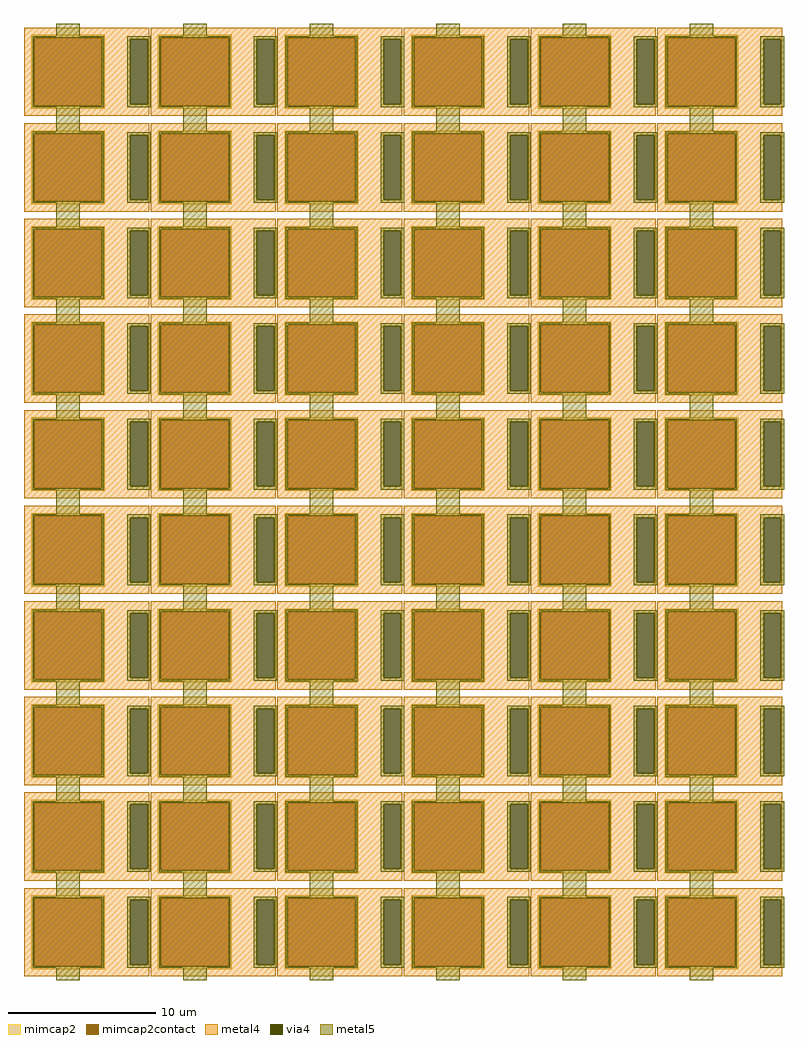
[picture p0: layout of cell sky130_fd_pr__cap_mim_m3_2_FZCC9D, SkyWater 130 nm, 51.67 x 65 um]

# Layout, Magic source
magic
tech sky130A
magscale 1 2
<< metal4 >>
rect -5156 6289 -3454 6450
rect -5156 5411 -3710 6289
rect -3474 5411 -3454 6289
rect -5156 5250 -3454 5411
rect -3434 6289 -1732 6450
rect -3434 5411 -1988 6289
rect -1752 5411 -1732 6289
rect -3434 5250 -1732 5411
rect -1712 6289 -10 6450
rect -1712 5411 -266 6289
rect -30 5411 -10 6289
rect -1712 5250 -10 5411
rect 10 6289 1712 6450
rect 10 5411 1456 6289
rect 1692 5411 1712 6289
rect 10 5250 1712 5411
rect 1732 6289 3434 6450
rect 1732 5411 3178 6289
rect 3414 5411 3434 6289
rect 1732 5250 3434 5411
rect 3454 6289 5156 6450
rect 3454 5411 4900 6289
rect 5136 5411 5156 6289
rect 3454 5250 5156 5411
rect -5156 4989 -3454 5150
rect -5156 4111 -3710 4989
rect -3474 4111 -3454 4989
rect -5156 3950 -3454 4111
rect -3434 4989 -1732 5150
rect -3434 4111 -1988 4989
rect -1752 4111 -1732 4989
rect -3434 3950 -1732 4111
rect -1712 4989 -10 5150
rect -1712 4111 -266 4989
rect -30 4111 -10 4989
rect -1712 3950 -10 4111
rect 10 4989 1712 5150
rect 10 4111 1456 4989
rect 1692 4111 1712 4989
rect 10 3950 1712 4111
rect 1732 4989 3434 5150
rect 1732 4111 3178 4989
rect 3414 4111 3434 4989
rect 1732 3950 3434 4111
rect 3454 4989 5156 5150
rect 3454 4111 4900 4989
rect 5136 4111 5156 4989
rect 3454 3950 5156 4111
rect -5156 3689 -3454 3850
rect -5156 2811 -3710 3689
rect -3474 2811 -3454 3689
rect -5156 2650 -3454 2811
rect -3434 3689 -1732 3850
rect -3434 2811 -1988 3689
rect -1752 2811 -1732 3689
rect -3434 2650 -1732 2811
rect -1712 3689 -10 3850
rect -1712 2811 -266 3689
rect -30 2811 -10 3689
rect -1712 2650 -10 2811
rect 10 3689 1712 3850
rect 10 2811 1456 3689
rect 1692 2811 1712 3689
rect 10 2650 1712 2811
rect 1732 3689 3434 3850
rect 1732 2811 3178 3689
rect 3414 2811 3434 3689
rect 1732 2650 3434 2811
rect 3454 3689 5156 3850
rect 3454 2811 4900 3689
rect 5136 2811 5156 3689
rect 3454 2650 5156 2811
rect -5156 2389 -3454 2550
rect -5156 1511 -3710 2389
rect -3474 1511 -3454 2389
rect -5156 1350 -3454 1511
rect -3434 2389 -1732 2550
rect -3434 1511 -1988 2389
rect -1752 1511 -1732 2389
rect -3434 1350 -1732 1511
rect -1712 2389 -10 2550
rect -1712 1511 -266 2389
rect -30 1511 -10 2389
rect -1712 1350 -10 1511
rect 10 2389 1712 2550
rect 10 1511 1456 2389
rect 1692 1511 1712 2389
rect 10 1350 1712 1511
rect 1732 2389 3434 2550
rect 1732 1511 3178 2389
rect 3414 1511 3434 2389
rect 1732 1350 3434 1511
rect 3454 2389 5156 2550
rect 3454 1511 4900 2389
rect 5136 1511 5156 2389
rect 3454 1350 5156 1511
rect -5156 1089 -3454 1250
rect -5156 211 -3710 1089
rect -3474 211 -3454 1089
rect -5156 50 -3454 211
rect -3434 1089 -1732 1250
rect -3434 211 -1988 1089
rect -1752 211 -1732 1089
rect -3434 50 -1732 211
rect -1712 1089 -10 1250
rect -1712 211 -266 1089
rect -30 211 -10 1089
rect -1712 50 -10 211
rect 10 1089 1712 1250
rect 10 211 1456 1089
rect 1692 211 1712 1089
rect 10 50 1712 211
rect 1732 1089 3434 1250
rect 1732 211 3178 1089
rect 3414 211 3434 1089
rect 1732 50 3434 211
rect 3454 1089 5156 1250
rect 3454 211 4900 1089
rect 5136 211 5156 1089
rect 3454 50 5156 211
rect -5156 -211 -3454 -50
rect -5156 -1089 -3710 -211
rect -3474 -1089 -3454 -211
rect -5156 -1250 -3454 -1089
rect -3434 -211 -1732 -50
rect -3434 -1089 -1988 -211
rect -1752 -1089 -1732 -211
rect -3434 -1250 -1732 -1089
rect -1712 -211 -10 -50
rect -1712 -1089 -266 -211
rect -30 -1089 -10 -211
rect -1712 -1250 -10 -1089
rect 10 -211 1712 -50
rect 10 -1089 1456 -211
rect 1692 -1089 1712 -211
rect 10 -1250 1712 -1089
rect 1732 -211 3434 -50
rect 1732 -1089 3178 -211
rect 3414 -1089 3434 -211
rect 1732 -1250 3434 -1089
rect 3454 -211 5156 -50
rect 3454 -1089 4900 -211
rect 5136 -1089 5156 -211
rect 3454 -1250 5156 -1089
rect -5156 -1511 -3454 -1350
rect -5156 -2389 -3710 -1511
rect -3474 -2389 -3454 -1511
rect -5156 -2550 -3454 -2389
rect -3434 -1511 -1732 -1350
rect -3434 -2389 -1988 -1511
rect -1752 -2389 -1732 -1511
rect -3434 -2550 -1732 -2389
rect -1712 -1511 -10 -1350
rect -1712 -2389 -266 -1511
rect -30 -2389 -10 -1511
rect -1712 -2550 -10 -2389
rect 10 -1511 1712 -1350
rect 10 -2389 1456 -1511
rect 1692 -2389 1712 -1511
rect 10 -2550 1712 -2389
rect 1732 -1511 3434 -1350
rect 1732 -2389 3178 -1511
rect 3414 -2389 3434 -1511
rect 1732 -2550 3434 -2389
rect 3454 -1511 5156 -1350
rect 3454 -2389 4900 -1511
rect 5136 -2389 5156 -1511
rect 3454 -2550 5156 -2389
rect -5156 -2811 -3454 -2650
rect -5156 -3689 -3710 -2811
rect -3474 -3689 -3454 -2811
rect -5156 -3850 -3454 -3689
rect -3434 -2811 -1732 -2650
rect -3434 -3689 -1988 -2811
rect -1752 -3689 -1732 -2811
rect -3434 -3850 -1732 -3689
rect -1712 -2811 -10 -2650
rect -1712 -3689 -266 -2811
rect -30 -3689 -10 -2811
rect -1712 -3850 -10 -3689
rect 10 -2811 1712 -2650
rect 10 -3689 1456 -2811
rect 1692 -3689 1712 -2811
rect 10 -3850 1712 -3689
rect 1732 -2811 3434 -2650
rect 1732 -3689 3178 -2811
rect 3414 -3689 3434 -2811
rect 1732 -3850 3434 -3689
rect 3454 -2811 5156 -2650
rect 3454 -3689 4900 -2811
rect 5136 -3689 5156 -2811
rect 3454 -3850 5156 -3689
rect -5156 -4111 -3454 -3950
rect -5156 -4989 -3710 -4111
rect -3474 -4989 -3454 -4111
rect -5156 -5150 -3454 -4989
rect -3434 -4111 -1732 -3950
rect -3434 -4989 -1988 -4111
rect -1752 -4989 -1732 -4111
rect -3434 -5150 -1732 -4989
rect -1712 -4111 -10 -3950
rect -1712 -4989 -266 -4111
rect -30 -4989 -10 -4111
rect -1712 -5150 -10 -4989
rect 10 -4111 1712 -3950
rect 10 -4989 1456 -4111
rect 1692 -4989 1712 -4111
rect 10 -5150 1712 -4989
rect 1732 -4111 3434 -3950
rect 1732 -4989 3178 -4111
rect 3414 -4989 3434 -4111
rect 1732 -5150 3434 -4989
rect 3454 -4111 5156 -3950
rect 3454 -4989 4900 -4111
rect 5136 -4989 5156 -4111
rect 3454 -5150 5156 -4989
rect -5156 -5411 -3454 -5250
rect -5156 -6289 -3710 -5411
rect -3474 -6289 -3454 -5411
rect -5156 -6450 -3454 -6289
rect -3434 -5411 -1732 -5250
rect -3434 -6289 -1988 -5411
rect -1752 -6289 -1732 -5411
rect -3434 -6450 -1732 -6289
rect -1712 -5411 -10 -5250
rect -1712 -6289 -266 -5411
rect -30 -6289 -10 -5411
rect -1712 -6450 -10 -6289
rect 10 -5411 1712 -5250
rect 10 -6289 1456 -5411
rect 1692 -6289 1712 -5411
rect 10 -6450 1712 -6289
rect 1732 -5411 3434 -5250
rect 1732 -6289 3178 -5411
rect 3414 -6289 3434 -5411
rect 1732 -6450 3434 -6289
rect 3454 -5411 5156 -5250
rect 3454 -6289 4900 -5411
rect 5136 -6289 5156 -5411
rect 3454 -6450 5156 -6289
<< via4 >>
rect -3710 5411 -3474 6289
rect -1988 5411 -1752 6289
rect -266 5411 -30 6289
rect 1456 5411 1692 6289
rect 3178 5411 3414 6289
rect 4900 5411 5136 6289
rect -3710 4111 -3474 4989
rect -1988 4111 -1752 4989
rect -266 4111 -30 4989
rect 1456 4111 1692 4989
rect 3178 4111 3414 4989
rect 4900 4111 5136 4989
rect -3710 2811 -3474 3689
rect -1988 2811 -1752 3689
rect -266 2811 -30 3689
rect 1456 2811 1692 3689
rect 3178 2811 3414 3689
rect 4900 2811 5136 3689
rect -3710 1511 -3474 2389
rect -1988 1511 -1752 2389
rect -266 1511 -30 2389
rect 1456 1511 1692 2389
rect 3178 1511 3414 2389
rect 4900 1511 5136 2389
rect -3710 211 -3474 1089
rect -1988 211 -1752 1089
rect -266 211 -30 1089
rect 1456 211 1692 1089
rect 3178 211 3414 1089
rect 4900 211 5136 1089
rect -3710 -1089 -3474 -211
rect -1988 -1089 -1752 -211
rect -266 -1089 -30 -211
rect 1456 -1089 1692 -211
rect 3178 -1089 3414 -211
rect 4900 -1089 5136 -211
rect -3710 -2389 -3474 -1511
rect -1988 -2389 -1752 -1511
rect -266 -2389 -30 -1511
rect 1456 -2389 1692 -1511
rect 3178 -2389 3414 -1511
rect 4900 -2389 5136 -1511
rect -3710 -3689 -3474 -2811
rect -1988 -3689 -1752 -2811
rect -266 -3689 -30 -2811
rect 1456 -3689 1692 -2811
rect 3178 -3689 3414 -2811
rect 4900 -3689 5136 -2811
rect -3710 -4989 -3474 -4111
rect -1988 -4989 -1752 -4111
rect -266 -4989 -30 -4111
rect 1456 -4989 1692 -4111
rect 3178 -4989 3414 -4111
rect 4900 -4989 5136 -4111
rect -3710 -6289 -3474 -5411
rect -1988 -6289 -1752 -5411
rect -266 -6289 -30 -5411
rect 1456 -6289 1692 -5411
rect 3178 -6289 3414 -5411
rect 4900 -6289 5136 -5411
<< mimcap2 >>
rect -5056 6310 -4056 6350
rect -5056 5390 -5016 6310
rect -4096 5390 -4056 6310
rect -5056 5350 -4056 5390
rect -3334 6310 -2334 6350
rect -3334 5390 -3294 6310
rect -2374 5390 -2334 6310
rect -3334 5350 -2334 5390
rect -1612 6310 -612 6350
rect -1612 5390 -1572 6310
rect -652 5390 -612 6310
rect -1612 5350 -612 5390
rect 110 6310 1110 6350
rect 110 5390 150 6310
rect 1070 5390 1110 6310
rect 110 5350 1110 5390
rect 1832 6310 2832 6350
rect 1832 5390 1872 6310
rect 2792 5390 2832 6310
rect 1832 5350 2832 5390
rect 3554 6310 4554 6350
rect 3554 5390 3594 6310
rect 4514 5390 4554 6310
rect 3554 5350 4554 5390
rect -5056 5010 -4056 5050
rect -5056 4090 -5016 5010
rect -4096 4090 -4056 5010
rect -5056 4050 -4056 4090
rect -3334 5010 -2334 5050
rect -3334 4090 -3294 5010
rect -2374 4090 -2334 5010
rect -3334 4050 -2334 4090
rect -1612 5010 -612 5050
rect -1612 4090 -1572 5010
rect -652 4090 -612 5010
rect -1612 4050 -612 4090
rect 110 5010 1110 5050
rect 110 4090 150 5010
rect 1070 4090 1110 5010
rect 110 4050 1110 4090
rect 1832 5010 2832 5050
rect 1832 4090 1872 5010
rect 2792 4090 2832 5010
rect 1832 4050 2832 4090
rect 3554 5010 4554 5050
rect 3554 4090 3594 5010
rect 4514 4090 4554 5010
rect 3554 4050 4554 4090
rect -5056 3710 -4056 3750
rect -5056 2790 -5016 3710
rect -4096 2790 -4056 3710
rect -5056 2750 -4056 2790
rect -3334 3710 -2334 3750
rect -3334 2790 -3294 3710
rect -2374 2790 -2334 3710
rect -3334 2750 -2334 2790
rect -1612 3710 -612 3750
rect -1612 2790 -1572 3710
rect -652 2790 -612 3710
rect -1612 2750 -612 2790
rect 110 3710 1110 3750
rect 110 2790 150 3710
rect 1070 2790 1110 3710
rect 110 2750 1110 2790
rect 1832 3710 2832 3750
rect 1832 2790 1872 3710
rect 2792 2790 2832 3710
rect 1832 2750 2832 2790
rect 3554 3710 4554 3750
rect 3554 2790 3594 3710
rect 4514 2790 4554 3710
rect 3554 2750 4554 2790
rect -5056 2410 -4056 2450
rect -5056 1490 -5016 2410
rect -4096 1490 -4056 2410
rect -5056 1450 -4056 1490
rect -3334 2410 -2334 2450
rect -3334 1490 -3294 2410
rect -2374 1490 -2334 2410
rect -3334 1450 -2334 1490
rect -1612 2410 -612 2450
rect -1612 1490 -1572 2410
rect -652 1490 -612 2410
rect -1612 1450 -612 1490
rect 110 2410 1110 2450
rect 110 1490 150 2410
rect 1070 1490 1110 2410
rect 110 1450 1110 1490
rect 1832 2410 2832 2450
rect 1832 1490 1872 2410
rect 2792 1490 2832 2410
rect 1832 1450 2832 1490
rect 3554 2410 4554 2450
rect 3554 1490 3594 2410
rect 4514 1490 4554 2410
rect 3554 1450 4554 1490
rect -5056 1110 -4056 1150
rect -5056 190 -5016 1110
rect -4096 190 -4056 1110
rect -5056 150 -4056 190
rect -3334 1110 -2334 1150
rect -3334 190 -3294 1110
rect -2374 190 -2334 1110
rect -3334 150 -2334 190
rect -1612 1110 -612 1150
rect -1612 190 -1572 1110
rect -652 190 -612 1110
rect -1612 150 -612 190
rect 110 1110 1110 1150
rect 110 190 150 1110
rect 1070 190 1110 1110
rect 110 150 1110 190
rect 1832 1110 2832 1150
rect 1832 190 1872 1110
rect 2792 190 2832 1110
rect 1832 150 2832 190
rect 3554 1110 4554 1150
rect 3554 190 3594 1110
rect 4514 190 4554 1110
rect 3554 150 4554 190
rect -5056 -190 -4056 -150
rect -5056 -1110 -5016 -190
rect -4096 -1110 -4056 -190
rect -5056 -1150 -4056 -1110
rect -3334 -190 -2334 -150
rect -3334 -1110 -3294 -190
rect -2374 -1110 -2334 -190
rect -3334 -1150 -2334 -1110
rect -1612 -190 -612 -150
rect -1612 -1110 -1572 -190
rect -652 -1110 -612 -190
rect -1612 -1150 -612 -1110
rect 110 -190 1110 -150
rect 110 -1110 150 -190
rect 1070 -1110 1110 -190
rect 110 -1150 1110 -1110
rect 1832 -190 2832 -150
rect 1832 -1110 1872 -190
rect 2792 -1110 2832 -190
rect 1832 -1150 2832 -1110
rect 3554 -190 4554 -150
rect 3554 -1110 3594 -190
rect 4514 -1110 4554 -190
rect 3554 -1150 4554 -1110
rect -5056 -1490 -4056 -1450
rect -5056 -2410 -5016 -1490
rect -4096 -2410 -4056 -1490
rect -5056 -2450 -4056 -2410
rect -3334 -1490 -2334 -1450
rect -3334 -2410 -3294 -1490
rect -2374 -2410 -2334 -1490
rect -3334 -2450 -2334 -2410
rect -1612 -1490 -612 -1450
rect -1612 -2410 -1572 -1490
rect -652 -2410 -612 -1490
rect -1612 -2450 -612 -2410
rect 110 -1490 1110 -1450
rect 110 -2410 150 -1490
rect 1070 -2410 1110 -1490
rect 110 -2450 1110 -2410
rect 1832 -1490 2832 -1450
rect 1832 -2410 1872 -1490
rect 2792 -2410 2832 -1490
rect 1832 -2450 2832 -2410
rect 3554 -1490 4554 -1450
rect 3554 -2410 3594 -1490
rect 4514 -2410 4554 -1490
rect 3554 -2450 4554 -2410
rect -5056 -2790 -4056 -2750
rect -5056 -3710 -5016 -2790
rect -4096 -3710 -4056 -2790
rect -5056 -3750 -4056 -3710
rect -3334 -2790 -2334 -2750
rect -3334 -3710 -3294 -2790
rect -2374 -3710 -2334 -2790
rect -3334 -3750 -2334 -3710
rect -1612 -2790 -612 -2750
rect -1612 -3710 -1572 -2790
rect -652 -3710 -612 -2790
rect -1612 -3750 -612 -3710
rect 110 -2790 1110 -2750
rect 110 -3710 150 -2790
rect 1070 -3710 1110 -2790
rect 110 -3750 1110 -3710
rect 1832 -2790 2832 -2750
rect 1832 -3710 1872 -2790
rect 2792 -3710 2832 -2790
rect 1832 -3750 2832 -3710
rect 3554 -2790 4554 -2750
rect 3554 -3710 3594 -2790
rect 4514 -3710 4554 -2790
rect 3554 -3750 4554 -3710
rect -5056 -4090 -4056 -4050
rect -5056 -5010 -5016 -4090
rect -4096 -5010 -4056 -4090
rect -5056 -5050 -4056 -5010
rect -3334 -4090 -2334 -4050
rect -3334 -5010 -3294 -4090
rect -2374 -5010 -2334 -4090
rect -3334 -5050 -2334 -5010
rect -1612 -4090 -612 -4050
rect -1612 -5010 -1572 -4090
rect -652 -5010 -612 -4090
rect -1612 -5050 -612 -5010
rect 110 -4090 1110 -4050
rect 110 -5010 150 -4090
rect 1070 -5010 1110 -4090
rect 110 -5050 1110 -5010
rect 1832 -4090 2832 -4050
rect 1832 -5010 1872 -4090
rect 2792 -5010 2832 -4090
rect 1832 -5050 2832 -5010
rect 3554 -4090 4554 -4050
rect 3554 -5010 3594 -4090
rect 4514 -5010 4554 -4090
rect 3554 -5050 4554 -5010
rect -5056 -5390 -4056 -5350
rect -5056 -6310 -5016 -5390
rect -4096 -6310 -4056 -5390
rect -5056 -6350 -4056 -6310
rect -3334 -5390 -2334 -5350
rect -3334 -6310 -3294 -5390
rect -2374 -6310 -2334 -5390
rect -3334 -6350 -2334 -6310
rect -1612 -5390 -612 -5350
rect -1612 -6310 -1572 -5390
rect -652 -6310 -612 -5390
rect -1612 -6350 -612 -6310
rect 110 -5390 1110 -5350
rect 110 -6310 150 -5390
rect 1070 -6310 1110 -5390
rect 110 -6350 1110 -6310
rect 1832 -5390 2832 -5350
rect 1832 -6310 1872 -5390
rect 2792 -6310 2832 -5390
rect 1832 -6350 2832 -6310
rect 3554 -5390 4554 -5350
rect 3554 -6310 3594 -5390
rect 4514 -6310 4554 -5390
rect 3554 -6350 4554 -6310
<< mimcap2contact >>
rect -5016 5390 -4096 6310
rect -3294 5390 -2374 6310
rect -1572 5390 -652 6310
rect 150 5390 1070 6310
rect 1872 5390 2792 6310
rect 3594 5390 4514 6310
rect -5016 4090 -4096 5010
rect -3294 4090 -2374 5010
rect -1572 4090 -652 5010
rect 150 4090 1070 5010
rect 1872 4090 2792 5010
rect 3594 4090 4514 5010
rect -5016 2790 -4096 3710
rect -3294 2790 -2374 3710
rect -1572 2790 -652 3710
rect 150 2790 1070 3710
rect 1872 2790 2792 3710
rect 3594 2790 4514 3710
rect -5016 1490 -4096 2410
rect -3294 1490 -2374 2410
rect -1572 1490 -652 2410
rect 150 1490 1070 2410
rect 1872 1490 2792 2410
rect 3594 1490 4514 2410
rect -5016 190 -4096 1110
rect -3294 190 -2374 1110
rect -1572 190 -652 1110
rect 150 190 1070 1110
rect 1872 190 2792 1110
rect 3594 190 4514 1110
rect -5016 -1110 -4096 -190
rect -3294 -1110 -2374 -190
rect -1572 -1110 -652 -190
rect 150 -1110 1070 -190
rect 1872 -1110 2792 -190
rect 3594 -1110 4514 -190
rect -5016 -2410 -4096 -1490
rect -3294 -2410 -2374 -1490
rect -1572 -2410 -652 -1490
rect 150 -2410 1070 -1490
rect 1872 -2410 2792 -1490
rect 3594 -2410 4514 -1490
rect -5016 -3710 -4096 -2790
rect -3294 -3710 -2374 -2790
rect -1572 -3710 -652 -2790
rect 150 -3710 1070 -2790
rect 1872 -3710 2792 -2790
rect 3594 -3710 4514 -2790
rect -5016 -5010 -4096 -4090
rect -3294 -5010 -2374 -4090
rect -1572 -5010 -652 -4090
rect 150 -5010 1070 -4090
rect 1872 -5010 2792 -4090
rect 3594 -5010 4514 -4090
rect -5016 -6310 -4096 -5390
rect -3294 -6310 -2374 -5390
rect -1572 -6310 -652 -5390
rect 150 -6310 1070 -5390
rect 1872 -6310 2792 -5390
rect 3594 -6310 4514 -5390
<< metal5 >>
rect -4716 6334 -4396 6500
rect -2994 6334 -2674 6500
rect -1272 6334 -952 6500
rect 450 6334 770 6500
rect 2172 6334 2492 6500
rect 3894 6334 4214 6500
rect -5040 6310 -4072 6334
rect -5040 5390 -5016 6310
rect -4096 5390 -4072 6310
rect -5040 5366 -4072 5390
rect -3752 6289 -3432 6331
rect -3752 5411 -3710 6289
rect -3474 5411 -3432 6289
rect -3752 5369 -3432 5411
rect -3318 6310 -2350 6334
rect -3318 5390 -3294 6310
rect -2374 5390 -2350 6310
rect -3318 5366 -2350 5390
rect -2030 6289 -1710 6331
rect -2030 5411 -1988 6289
rect -1752 5411 -1710 6289
rect -2030 5369 -1710 5411
rect -1596 6310 -628 6334
rect -1596 5390 -1572 6310
rect -652 5390 -628 6310
rect -1596 5366 -628 5390
rect -308 6289 12 6331
rect -308 5411 -266 6289
rect -30 5411 12 6289
rect -308 5369 12 5411
rect 126 6310 1094 6334
rect 126 5390 150 6310
rect 1070 5390 1094 6310
rect 126 5366 1094 5390
rect 1414 6289 1734 6331
rect 1414 5411 1456 6289
rect 1692 5411 1734 6289
rect 1414 5369 1734 5411
rect 1848 6310 2816 6334
rect 1848 5390 1872 6310
rect 2792 5390 2816 6310
rect 1848 5366 2816 5390
rect 3136 6289 3456 6331
rect 3136 5411 3178 6289
rect 3414 5411 3456 6289
rect 3136 5369 3456 5411
rect 3570 6310 4538 6334
rect 3570 5390 3594 6310
rect 4514 5390 4538 6310
rect 3570 5366 4538 5390
rect 4858 6289 5178 6331
rect 4858 5411 4900 6289
rect 5136 5411 5178 6289
rect 4858 5369 5178 5411
rect -4716 5034 -4396 5366
rect -2994 5034 -2674 5366
rect -1272 5034 -952 5366
rect 450 5034 770 5366
rect 2172 5034 2492 5366
rect 3894 5034 4214 5366
rect -5040 5010 -4072 5034
rect -5040 4090 -5016 5010
rect -4096 4090 -4072 5010
rect -5040 4066 -4072 4090
rect -3752 4989 -3432 5031
rect -3752 4111 -3710 4989
rect -3474 4111 -3432 4989
rect -3752 4069 -3432 4111
rect -3318 5010 -2350 5034
rect -3318 4090 -3294 5010
rect -2374 4090 -2350 5010
rect -3318 4066 -2350 4090
rect -2030 4989 -1710 5031
rect -2030 4111 -1988 4989
rect -1752 4111 -1710 4989
rect -2030 4069 -1710 4111
rect -1596 5010 -628 5034
rect -1596 4090 -1572 5010
rect -652 4090 -628 5010
rect -1596 4066 -628 4090
rect -308 4989 12 5031
rect -308 4111 -266 4989
rect -30 4111 12 4989
rect -308 4069 12 4111
rect 126 5010 1094 5034
rect 126 4090 150 5010
rect 1070 4090 1094 5010
rect 126 4066 1094 4090
rect 1414 4989 1734 5031
rect 1414 4111 1456 4989
rect 1692 4111 1734 4989
rect 1414 4069 1734 4111
rect 1848 5010 2816 5034
rect 1848 4090 1872 5010
rect 2792 4090 2816 5010
rect 1848 4066 2816 4090
rect 3136 4989 3456 5031
rect 3136 4111 3178 4989
rect 3414 4111 3456 4989
rect 3136 4069 3456 4111
rect 3570 5010 4538 5034
rect 3570 4090 3594 5010
rect 4514 4090 4538 5010
rect 3570 4066 4538 4090
rect 4858 4989 5178 5031
rect 4858 4111 4900 4989
rect 5136 4111 5178 4989
rect 4858 4069 5178 4111
rect -4716 3734 -4396 4066
rect -2994 3734 -2674 4066
rect -1272 3734 -952 4066
rect 450 3734 770 4066
rect 2172 3734 2492 4066
rect 3894 3734 4214 4066
rect -5040 3710 -4072 3734
rect -5040 2790 -5016 3710
rect -4096 2790 -4072 3710
rect -5040 2766 -4072 2790
rect -3752 3689 -3432 3731
rect -3752 2811 -3710 3689
rect -3474 2811 -3432 3689
rect -3752 2769 -3432 2811
rect -3318 3710 -2350 3734
rect -3318 2790 -3294 3710
rect -2374 2790 -2350 3710
rect -3318 2766 -2350 2790
rect -2030 3689 -1710 3731
rect -2030 2811 -1988 3689
rect -1752 2811 -1710 3689
rect -2030 2769 -1710 2811
rect -1596 3710 -628 3734
rect -1596 2790 -1572 3710
rect -652 2790 -628 3710
rect -1596 2766 -628 2790
rect -308 3689 12 3731
rect -308 2811 -266 3689
rect -30 2811 12 3689
rect -308 2769 12 2811
rect 126 3710 1094 3734
rect 126 2790 150 3710
rect 1070 2790 1094 3710
rect 126 2766 1094 2790
rect 1414 3689 1734 3731
rect 1414 2811 1456 3689
rect 1692 2811 1734 3689
rect 1414 2769 1734 2811
rect 1848 3710 2816 3734
rect 1848 2790 1872 3710
rect 2792 2790 2816 3710
rect 1848 2766 2816 2790
rect 3136 3689 3456 3731
rect 3136 2811 3178 3689
rect 3414 2811 3456 3689
rect 3136 2769 3456 2811
rect 3570 3710 4538 3734
rect 3570 2790 3594 3710
rect 4514 2790 4538 3710
rect 3570 2766 4538 2790
rect 4858 3689 5178 3731
rect 4858 2811 4900 3689
rect 5136 2811 5178 3689
rect 4858 2769 5178 2811
rect -4716 2434 -4396 2766
rect -2994 2434 -2674 2766
rect -1272 2434 -952 2766
rect 450 2434 770 2766
rect 2172 2434 2492 2766
rect 3894 2434 4214 2766
rect -5040 2410 -4072 2434
rect -5040 1490 -5016 2410
rect -4096 1490 -4072 2410
rect -5040 1466 -4072 1490
rect -3752 2389 -3432 2431
rect -3752 1511 -3710 2389
rect -3474 1511 -3432 2389
rect -3752 1469 -3432 1511
rect -3318 2410 -2350 2434
rect -3318 1490 -3294 2410
rect -2374 1490 -2350 2410
rect -3318 1466 -2350 1490
rect -2030 2389 -1710 2431
rect -2030 1511 -1988 2389
rect -1752 1511 -1710 2389
rect -2030 1469 -1710 1511
rect -1596 2410 -628 2434
rect -1596 1490 -1572 2410
rect -652 1490 -628 2410
rect -1596 1466 -628 1490
rect -308 2389 12 2431
rect -308 1511 -266 2389
rect -30 1511 12 2389
rect -308 1469 12 1511
rect 126 2410 1094 2434
rect 126 1490 150 2410
rect 1070 1490 1094 2410
rect 126 1466 1094 1490
rect 1414 2389 1734 2431
rect 1414 1511 1456 2389
rect 1692 1511 1734 2389
rect 1414 1469 1734 1511
rect 1848 2410 2816 2434
rect 1848 1490 1872 2410
rect 2792 1490 2816 2410
rect 1848 1466 2816 1490
rect 3136 2389 3456 2431
rect 3136 1511 3178 2389
rect 3414 1511 3456 2389
rect 3136 1469 3456 1511
rect 3570 2410 4538 2434
rect 3570 1490 3594 2410
rect 4514 1490 4538 2410
rect 3570 1466 4538 1490
rect 4858 2389 5178 2431
rect 4858 1511 4900 2389
rect 5136 1511 5178 2389
rect 4858 1469 5178 1511
rect -4716 1134 -4396 1466
rect -2994 1134 -2674 1466
rect -1272 1134 -952 1466
rect 450 1134 770 1466
rect 2172 1134 2492 1466
rect 3894 1134 4214 1466
rect -5040 1110 -4072 1134
rect -5040 190 -5016 1110
rect -4096 190 -4072 1110
rect -5040 166 -4072 190
rect -3752 1089 -3432 1131
rect -3752 211 -3710 1089
rect -3474 211 -3432 1089
rect -3752 169 -3432 211
rect -3318 1110 -2350 1134
rect -3318 190 -3294 1110
rect -2374 190 -2350 1110
rect -3318 166 -2350 190
rect -2030 1089 -1710 1131
rect -2030 211 -1988 1089
rect -1752 211 -1710 1089
rect -2030 169 -1710 211
rect -1596 1110 -628 1134
rect -1596 190 -1572 1110
rect -652 190 -628 1110
rect -1596 166 -628 190
rect -308 1089 12 1131
rect -308 211 -266 1089
rect -30 211 12 1089
rect -308 169 12 211
rect 126 1110 1094 1134
rect 126 190 150 1110
rect 1070 190 1094 1110
rect 126 166 1094 190
rect 1414 1089 1734 1131
rect 1414 211 1456 1089
rect 1692 211 1734 1089
rect 1414 169 1734 211
rect 1848 1110 2816 1134
rect 1848 190 1872 1110
rect 2792 190 2816 1110
rect 1848 166 2816 190
rect 3136 1089 3456 1131
rect 3136 211 3178 1089
rect 3414 211 3456 1089
rect 3136 169 3456 211
rect 3570 1110 4538 1134
rect 3570 190 3594 1110
rect 4514 190 4538 1110
rect 3570 166 4538 190
rect 4858 1089 5178 1131
rect 4858 211 4900 1089
rect 5136 211 5178 1089
rect 4858 169 5178 211
rect -4716 -166 -4396 166
rect -2994 -166 -2674 166
rect -1272 -166 -952 166
rect 450 -166 770 166
rect 2172 -166 2492 166
rect 3894 -166 4214 166
rect -5040 -190 -4072 -166
rect -5040 -1110 -5016 -190
rect -4096 -1110 -4072 -190
rect -5040 -1134 -4072 -1110
rect -3752 -211 -3432 -169
rect -3752 -1089 -3710 -211
rect -3474 -1089 -3432 -211
rect -3752 -1131 -3432 -1089
rect -3318 -190 -2350 -166
rect -3318 -1110 -3294 -190
rect -2374 -1110 -2350 -190
rect -3318 -1134 -2350 -1110
rect -2030 -211 -1710 -169
rect -2030 -1089 -1988 -211
rect -1752 -1089 -1710 -211
rect -2030 -1131 -1710 -1089
rect -1596 -190 -628 -166
rect -1596 -1110 -1572 -190
rect -652 -1110 -628 -190
rect -1596 -1134 -628 -1110
rect -308 -211 12 -169
rect -308 -1089 -266 -211
rect -30 -1089 12 -211
rect -308 -1131 12 -1089
rect 126 -190 1094 -166
rect 126 -1110 150 -190
rect 1070 -1110 1094 -190
rect 126 -1134 1094 -1110
rect 1414 -211 1734 -169
rect 1414 -1089 1456 -211
rect 1692 -1089 1734 -211
rect 1414 -1131 1734 -1089
rect 1848 -190 2816 -166
rect 1848 -1110 1872 -190
rect 2792 -1110 2816 -190
rect 1848 -1134 2816 -1110
rect 3136 -211 3456 -169
rect 3136 -1089 3178 -211
rect 3414 -1089 3456 -211
rect 3136 -1131 3456 -1089
rect 3570 -190 4538 -166
rect 3570 -1110 3594 -190
rect 4514 -1110 4538 -190
rect 3570 -1134 4538 -1110
rect 4858 -211 5178 -169
rect 4858 -1089 4900 -211
rect 5136 -1089 5178 -211
rect 4858 -1131 5178 -1089
rect -4716 -1466 -4396 -1134
rect -2994 -1466 -2674 -1134
rect -1272 -1466 -952 -1134
rect 450 -1466 770 -1134
rect 2172 -1466 2492 -1134
rect 3894 -1466 4214 -1134
rect -5040 -1490 -4072 -1466
rect -5040 -2410 -5016 -1490
rect -4096 -2410 -4072 -1490
rect -5040 -2434 -4072 -2410
rect -3752 -1511 -3432 -1469
rect -3752 -2389 -3710 -1511
rect -3474 -2389 -3432 -1511
rect -3752 -2431 -3432 -2389
rect -3318 -1490 -2350 -1466
rect -3318 -2410 -3294 -1490
rect -2374 -2410 -2350 -1490
rect -3318 -2434 -2350 -2410
rect -2030 -1511 -1710 -1469
rect -2030 -2389 -1988 -1511
rect -1752 -2389 -1710 -1511
rect -2030 -2431 -1710 -2389
rect -1596 -1490 -628 -1466
rect -1596 -2410 -1572 -1490
rect -652 -2410 -628 -1490
rect -1596 -2434 -628 -2410
rect -308 -1511 12 -1469
rect -308 -2389 -266 -1511
rect -30 -2389 12 -1511
rect -308 -2431 12 -2389
rect 126 -1490 1094 -1466
rect 126 -2410 150 -1490
rect 1070 -2410 1094 -1490
rect 126 -2434 1094 -2410
rect 1414 -1511 1734 -1469
rect 1414 -2389 1456 -1511
rect 1692 -2389 1734 -1511
rect 1414 -2431 1734 -2389
rect 1848 -1490 2816 -1466
rect 1848 -2410 1872 -1490
rect 2792 -2410 2816 -1490
rect 1848 -2434 2816 -2410
rect 3136 -1511 3456 -1469
rect 3136 -2389 3178 -1511
rect 3414 -2389 3456 -1511
rect 3136 -2431 3456 -2389
rect 3570 -1490 4538 -1466
rect 3570 -2410 3594 -1490
rect 4514 -2410 4538 -1490
rect 3570 -2434 4538 -2410
rect 4858 -1511 5178 -1469
rect 4858 -2389 4900 -1511
rect 5136 -2389 5178 -1511
rect 4858 -2431 5178 -2389
rect -4716 -2766 -4396 -2434
rect -2994 -2766 -2674 -2434
rect -1272 -2766 -952 -2434
rect 450 -2766 770 -2434
rect 2172 -2766 2492 -2434
rect 3894 -2766 4214 -2434
rect -5040 -2790 -4072 -2766
rect -5040 -3710 -5016 -2790
rect -4096 -3710 -4072 -2790
rect -5040 -3734 -4072 -3710
rect -3752 -2811 -3432 -2769
rect -3752 -3689 -3710 -2811
rect -3474 -3689 -3432 -2811
rect -3752 -3731 -3432 -3689
rect -3318 -2790 -2350 -2766
rect -3318 -3710 -3294 -2790
rect -2374 -3710 -2350 -2790
rect -3318 -3734 -2350 -3710
rect -2030 -2811 -1710 -2769
rect -2030 -3689 -1988 -2811
rect -1752 -3689 -1710 -2811
rect -2030 -3731 -1710 -3689
rect -1596 -2790 -628 -2766
rect -1596 -3710 -1572 -2790
rect -652 -3710 -628 -2790
rect -1596 -3734 -628 -3710
rect -308 -2811 12 -2769
rect -308 -3689 -266 -2811
rect -30 -3689 12 -2811
rect -308 -3731 12 -3689
rect 126 -2790 1094 -2766
rect 126 -3710 150 -2790
rect 1070 -3710 1094 -2790
rect 126 -3734 1094 -3710
rect 1414 -2811 1734 -2769
rect 1414 -3689 1456 -2811
rect 1692 -3689 1734 -2811
rect 1414 -3731 1734 -3689
rect 1848 -2790 2816 -2766
rect 1848 -3710 1872 -2790
rect 2792 -3710 2816 -2790
rect 1848 -3734 2816 -3710
rect 3136 -2811 3456 -2769
rect 3136 -3689 3178 -2811
rect 3414 -3689 3456 -2811
rect 3136 -3731 3456 -3689
rect 3570 -2790 4538 -2766
rect 3570 -3710 3594 -2790
rect 4514 -3710 4538 -2790
rect 3570 -3734 4538 -3710
rect 4858 -2811 5178 -2769
rect 4858 -3689 4900 -2811
rect 5136 -3689 5178 -2811
rect 4858 -3731 5178 -3689
rect -4716 -4066 -4396 -3734
rect -2994 -4066 -2674 -3734
rect -1272 -4066 -952 -3734
rect 450 -4066 770 -3734
rect 2172 -4066 2492 -3734
rect 3894 -4066 4214 -3734
rect -5040 -4090 -4072 -4066
rect -5040 -5010 -5016 -4090
rect -4096 -5010 -4072 -4090
rect -5040 -5034 -4072 -5010
rect -3752 -4111 -3432 -4069
rect -3752 -4989 -3710 -4111
rect -3474 -4989 -3432 -4111
rect -3752 -5031 -3432 -4989
rect -3318 -4090 -2350 -4066
rect -3318 -5010 -3294 -4090
rect -2374 -5010 -2350 -4090
rect -3318 -5034 -2350 -5010
rect -2030 -4111 -1710 -4069
rect -2030 -4989 -1988 -4111
rect -1752 -4989 -1710 -4111
rect -2030 -5031 -1710 -4989
rect -1596 -4090 -628 -4066
rect -1596 -5010 -1572 -4090
rect -652 -5010 -628 -4090
rect -1596 -5034 -628 -5010
rect -308 -4111 12 -4069
rect -308 -4989 -266 -4111
rect -30 -4989 12 -4111
rect -308 -5031 12 -4989
rect 126 -4090 1094 -4066
rect 126 -5010 150 -4090
rect 1070 -5010 1094 -4090
rect 126 -5034 1094 -5010
rect 1414 -4111 1734 -4069
rect 1414 -4989 1456 -4111
rect 1692 -4989 1734 -4111
rect 1414 -5031 1734 -4989
rect 1848 -4090 2816 -4066
rect 1848 -5010 1872 -4090
rect 2792 -5010 2816 -4090
rect 1848 -5034 2816 -5010
rect 3136 -4111 3456 -4069
rect 3136 -4989 3178 -4111
rect 3414 -4989 3456 -4111
rect 3136 -5031 3456 -4989
rect 3570 -4090 4538 -4066
rect 3570 -5010 3594 -4090
rect 4514 -5010 4538 -4090
rect 3570 -5034 4538 -5010
rect 4858 -4111 5178 -4069
rect 4858 -4989 4900 -4111
rect 5136 -4989 5178 -4111
rect 4858 -5031 5178 -4989
rect -4716 -5366 -4396 -5034
rect -2994 -5366 -2674 -5034
rect -1272 -5366 -952 -5034
rect 450 -5366 770 -5034
rect 2172 -5366 2492 -5034
rect 3894 -5366 4214 -5034
rect -5040 -5390 -4072 -5366
rect -5040 -6310 -5016 -5390
rect -4096 -6310 -4072 -5390
rect -5040 -6334 -4072 -6310
rect -3752 -5411 -3432 -5369
rect -3752 -6289 -3710 -5411
rect -3474 -6289 -3432 -5411
rect -3752 -6331 -3432 -6289
rect -3318 -5390 -2350 -5366
rect -3318 -6310 -3294 -5390
rect -2374 -6310 -2350 -5390
rect -3318 -6334 -2350 -6310
rect -2030 -5411 -1710 -5369
rect -2030 -6289 -1988 -5411
rect -1752 -6289 -1710 -5411
rect -2030 -6331 -1710 -6289
rect -1596 -5390 -628 -5366
rect -1596 -6310 -1572 -5390
rect -652 -6310 -628 -5390
rect -1596 -6334 -628 -6310
rect -308 -5411 12 -5369
rect -308 -6289 -266 -5411
rect -30 -6289 12 -5411
rect -308 -6331 12 -6289
rect 126 -5390 1094 -5366
rect 126 -6310 150 -5390
rect 1070 -6310 1094 -5390
rect 126 -6334 1094 -6310
rect 1414 -5411 1734 -5369
rect 1414 -6289 1456 -5411
rect 1692 -6289 1734 -5411
rect 1414 -6331 1734 -6289
rect 1848 -5390 2816 -5366
rect 1848 -6310 1872 -5390
rect 2792 -6310 2816 -5390
rect 1848 -6334 2816 -6310
rect 3136 -5411 3456 -5369
rect 3136 -6289 3178 -5411
rect 3414 -6289 3456 -5411
rect 3136 -6331 3456 -6289
rect 3570 -5390 4538 -5366
rect 3570 -6310 3594 -5390
rect 4514 -6310 4538 -5390
rect 3570 -6334 4538 -6310
rect 4858 -5411 5178 -5369
rect 4858 -6289 4900 -5411
rect 5136 -6289 5178 -5411
rect 4858 -6331 5178 -6289
rect -4716 -6500 -4396 -6334
rect -2994 -6500 -2674 -6334
rect -1272 -6500 -952 -6334
rect 450 -6500 770 -6334
rect 2172 -6500 2492 -6334
rect 3894 -6500 4214 -6334
<< properties >>
string FIXED_BBOX 3454 5250 4654 6450
string gencell sky130_fd_pr__cap_mim_m3_2
string library sky130
string parameters w 5.0 l 5.0 val 53.8 carea 2.00 cperi 0.19 nx 6 ny 10 dummy 0 square 0 lmin 2.00 wmin 2.00 lmax 30.0 wmax 30.0 dc 0 bconnect 0 tconnect 1 ccov 100
<< end >>
